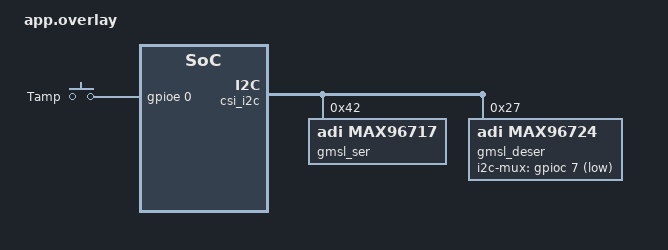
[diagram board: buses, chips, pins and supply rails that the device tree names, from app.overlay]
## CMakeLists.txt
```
# SPDX-License-Identifier: Apache-2.0

cmake_minimum_required(VERSION 3.20.0)

find_package(Zephyr REQUIRED HINTS $ENV{ZEPHYR_BASE})
project(videocapture_gmsl)

FILE(GLOB app_sources src/*.c)
target_sources(app PRIVATE ${app_sources})
target_include_directories(app PRIVATE include)
```

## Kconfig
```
# VIDEO resolution settings

# Copyright (c) 2024 Charles Dias <charlesdias.cd@outlook.com>
# SPDX-License-Identifier: Apache-2.0

mainmenu "Video capture to LVGL sample application"

menu "Video capture configuration"

config VIDEO_SOURCE_CROP_LEFT
	int "Crop area left value"
	default 0
	help
	   Left value of the crop area within the video source.

config VIDEO_SOURCE_CROP_TOP
	int "Crop area top value"
	default 0
	help
	   Top value of the crop area within the video source.

config VIDEO_SOURCE_CROP_WIDTH
	int "Crop area width value"
	default 0
	help
	   Width value of the crop area within the video source.
	   If set to 0, the crop is not applied.

config VIDEO_SOURCE_CROP_HEIGHT
	int "Crop area height value"
	default 0
	help
	   Height value of the crop area within the video source.
	   If set to 0, the crop is not applied.

config VIDEO_WIDTH
	int "Define the width of the video"
	default 320

config VIDEO_HEIGHT
	int "Define the height of the video"
	default 240

config VIDEO_HFLIP
	bool "Horizontal flip"
	default n

config VIDEO_VFLIP
	bool "Vertical flip"
	default n

config ISP_AWB
	bool "Auto White Balance"
	default y

config ISP_AWB_INTERVAL
	int "Auto white balance update interval (frames)"
	default 4

config GMSL_DESER_DUPLICATE
	bool "Duplicate the camera output on both GMSL deserializer CSI ports"
	default y

endmenu

source "Kconfig.zephyr"
```

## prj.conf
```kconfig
CONFIG_VIDEO=y

CONFIG_PRINTK=y
CONFIG_LOG=y

CONFIG_MAIN_STACK_SIZE=4096

CONFIG_DISPLAY=y
CONFIG_DISPLAY_LOG_LEVEL_ERR=y

CONFIG_LVGL=y
CONFIG_LV_CONF_MINIMAL=y
CONFIG_LV_USE_IMAGE=y
CONFIG_LV_Z_MEM_POOL_SIZE=16384
CONFIG_LV_USE_PERF_MONITOR=y
CONFIG_LV_USE_DROPDOWN=y
CONFIG_LV_USE_SYSMON=y

CONFIG_SHELL=y
CONFIG_VIDEO_SHELL=y

CONFIG_INPUT=y
```

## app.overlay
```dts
/*
 * Copyright (c) 2026 Analog Devices, Inc
 *
 * SPDX-License-Identifier: Apache-2.0
 */

/ {
    chosen {
        camera_sensor = &imx335;
    };
};


&imx335 {
    /* The camera initialization needs to happen after GMSL is running due to
       I2C tunnelling */
    zephyr,deferred-init;
};

&csi_interface {
    /* The CSI interface initialization needs to happen after the camera is
       initialized (now manually in code) as the driver verifies the camera is
       ready as part of its bringup */
    zephyr,deferred-init;
};

&gpioc {
    status = "okay";
};

&csi_i2c {
    gmsl_ser: max96717@42 {
        compatible = "adi,max96717";
        reg = <0x42>;
    };

    gmsl_deser: max96724@27 {
        compatible = "adi,max96724";
        reg = <0x27>;
        i2c-mux-gpios = <&gpioc 7 (GPIO_ACTIVE_LOW | GPIO_OPEN_DRAIN)>;
    };
};

/* Reassign User Button to 'E' for exposure */
&user_button {
    zephyr,code = <INPUT_KEY_E>;
};

/ {
    extra_keys {
        compatible = "gpio-keys";
        /* Add the tamper button and use it for gain */
        tamp_button: tamper_button {
            label = "Tamp";
            gpios = <&gpioe 0 (GPIO_ACTIVE_HIGH | GPIO_PULL_DOWN)>;
            zephyr,code = <INPUT_KEY_G>;
        };
    };
};
```

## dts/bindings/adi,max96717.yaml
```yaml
# Copyright (c) 2026 Analog Devices, Inc
# SPDX-License-Identifier: Apache-2.0

description: Mock device tree node to capture MAX96717 I2C configuration

compatible: "adi,max96717"

include: [i2c-device.yaml]
```

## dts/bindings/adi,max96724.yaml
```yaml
# Copyright (c) 2026 Analog Devices, Inc
# SPDX-License-Identifier: Apache-2.0

description: Mock device tree node to capture MAX96724 I2C configuration

compatible: "adi,max96724"

include: [i2c-device.yaml]

properties:
  i2c-mux-gpios:
    type: phandle-array
    required: false
    description: |
      The GPIO connected to the I2C mux controller on the MAX96724 EvKit (TP2)
      for controlling the on-board I2C from software versus S1.
```

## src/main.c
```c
/*
 * Copyright (c) 2024 Charles Dias <charlesdias.cd@outlook.com>
 * Portions Copyright (c) 2026 Analog Devices, Inc
 *
 * SPDX-License-Identifier: Apache-2.0
 */

#include <zephyr/kernel.h>
#include <zephyr/device.h>
#include <zephyr/drivers/display.h>
#include <zephyr/drivers/video.h>
#include <zephyr/video/controls.h>
#include <zephyr/logging/log.h>
#include <lvgl.h>

#include "gmsl.h"

LOG_MODULE_REGISTER(main, CONFIG_LOG_DEFAULT_LEVEL);

#if !DT_HAS_CHOSEN(zephyr_camera)
#error No camera chosen in devicetree. Missing "--shield" or "--snippet video-sw-generator" flag?
#endif

#if !DT_PROP(DT_CHOSEN(camera_sensor), zephyr_deferred_init)
#error The chosen camera_sensor must have zephyr,deferred-init enabled.
#endif

#if !DT_HAS_CHOSEN(zephyr_display)
#error No display chosen in devicetree. Missing "--shield" flag?
#endif

int main(void)
{
	struct video_buffer *buffers[2];
	struct video_buffer *vbuf = &(struct video_buffer){};
	const struct device *display_dev;
	const struct device *video_dev;
	const struct device *camera_dev;
	const struct device *csi_dev;
	struct video_format fmt;
	struct video_caps caps;
	enum video_buf_type type = VIDEO_BUF_TYPE_OUTPUT;
	struct video_selection sel = {
		.type = VIDEO_BUF_TYPE_OUTPUT,
	};
	int i = 0;
	int err;

	/* Initialize GMSL before anything else */
	err = gmsl_init();
	if (err) {
		LOG_ERR("Failed to initialize GMSL");
		return 0;
	}

	/* Take I2C ownership until init is complete */
	gmsl_set_i2c_ctrl(true);

	/* Camera initialization deferred until GMSL is running */
	camera_dev = DEVICE_DT_GET(DT_CHOSEN(camera_sensor));
	device_init(camera_dev);
	if (!device_is_ready(camera_dev)) {
		LOG_ERR("%s device is not ready", camera_dev->name);
		return 0;
	}

	/* CSI Interface deferred until Camera is running */
	csi_dev = DEVICE_DT_GET(DT_NODELABEL(csi_interface));
	device_init(csi_dev);
	if (!device_is_ready(csi_dev)) {
		LOG_ERR("%s device is not ready", csi_dev->name);
		return 0;
	}

	display_dev = DEVICE_DT_GET(DT_CHOSEN(zephyr_display));
	if (!device_is_ready(display_dev)) {
		LOG_ERR("Device not ready, aborting test");
		return 0;
	}

	video_dev = DEVICE_DT_GET(DT_CHOSEN(zephyr_camera));
	if (!device_is_ready(video_dev)) {
		LOG_ERR("%s device is not ready", video_dev->name);
		return 0;
	}

	LOG_INF("- Device name: %s", video_dev->name);

	/* Get capabilities */
	caps.type = type;
	if (video_get_caps(video_dev, &caps)) {
		LOG_ERR("Unable to retrieve video capabilities");
		return 0;
	}

	LOG_INF("- Capabilities:");
	while (caps.format_caps[i].pixelformat) {
		const struct video_format_cap *fcap = &caps.format_caps[i];
		/* four %c to string */
		LOG_INF("  %c%c%c%c width [%u; %u; %u] height [%u; %u; %u]",
			(char)fcap->pixelformat, (char)(fcap->pixelformat >> 8),
			(char)(fcap->pixelformat >> 16), (char)(fcap->pixelformat >> 24),
			fcap->width_min, fcap->width_max, fcap->width_step, fcap->height_min,
			fcap->height_max, fcap->height_step);
		i++;
	}

	/* Get default/native format */
	fmt.type = type;
	if (video_get_format(video_dev, &fmt)) {
		LOG_ERR("Unable to retrieve video format");
		return 0;
	}

	/* Set the crop setting if necessary */
#if CONFIG_VIDEO_SOURCE_CROP_WIDTH && CONFIG_VIDEO_SOURCE_CROP_HEIGHT
	sel.target = VIDEO_SEL_TGT_CROP;
	sel.rect.left = CONFIG_VIDEO_SOURCE_CROP_LEFT;
	sel.rect.top = CONFIG_VIDEO_SOURCE_CROP_TOP;
	sel.rect.width = CONFIG_VIDEO_SOURCE_CROP_WIDTH;
	sel.rect.height = CONFIG_VIDEO_SOURCE_CROP_HEIGHT;
	if (video_set_selection(video_dev, &sel)) {
		LOG_ERR("Unable to set selection crop");
		return 0;
	}
	LOG_INF("Selection crop set to (%u,%u)/%ux%u",
		sel.rect.left, sel.rect.top, sel.rect.width, sel.rect.height);
#endif

	/* Set format */
	fmt.width = CONFIG_VIDEO_WIDTH;
	fmt.height = CONFIG_VIDEO_HEIGHT;
	fmt.pixelformat = VIDEO_PIX_FMT_RGB565;

	/*
	 * Check (if possible) if targeted size is same as crop
	 * and if compose is necessary
	 */
	sel.target = VIDEO_SEL_TGT_CROP;
	err = video_get_selection(video_dev, &sel);
	if (err < 0 && err != -ENOSYS) {
		LOG_ERR("Unable to get selection crop");
		return 0;
	}

	if (err == 0 && (sel.rect.width != fmt.width || sel.rect.height != fmt.height)) {
		sel.target = VIDEO_SEL_TGT_COMPOSE;
		sel.rect.left = 0;
		sel.rect.top = 0;
		sel.rect.width = fmt.width;
		sel.rect.height = fmt.height;
		err = video_set_selection(video_dev, &sel);
		if (err < 0 && err != -ENOSYS) {
			LOG_ERR("Unable to set selection compose");
			return 0;
		}
	}

	if (video_set_format(video_dev, &fmt)) {
		LOG_ERR("Unable to set up video format");
		return 0;
	}

	LOG_INF("- Format: %c%c%c%c %ux%u %u", (char)fmt.pixelformat, (char)(fmt.pixelformat >> 8),
		(char)(fmt.pixelformat >> 16), (char)(fmt.pixelformat >> 24), fmt.width, fmt.height,
		fmt.pitch);

	/* Alloc video buffers and enqueue for capture */
	for (i = 0; i < ARRAY_SIZE(buffers); i++) {
		buffers[i] = video_buffer_aligned_alloc(fmt.size, CONFIG_VIDEO_BUFFER_POOL_ALIGN,
							K_NO_WAIT);
		if (buffers[i] == NULL) {
			LOG_ERR("Unable to alloc video buffer");
			return 0;
		}
		buffers[i]->type = type;
		video_enqueue(video_dev, buffers[i]);
	}

	/* Set controls */
	struct video_control ctrl = {.id = VIDEO_CID_HFLIP, .val = 1};

	if (IS_ENABLED(CONFIG_VIDEO_HFLIP)) {
		video_set_ctrl(video_dev, &ctrl);
	}

	if (IS_ENABLED(CONFIG_VIDEO_VFLIP)) {
		ctrl.id = VIDEO_CID_VFLIP;
		video_set_ctrl(video_dev, &ctrl);
	}

	/* Start video capture */
	if (video_stream_start(video_dev, type)) {
		LOG_ERR("Unable to start capture (interface)");
		return 0;
	}

	err = display_blanking_off(display_dev);
	if (err < 0 && err != -ENOSYS) {
		LOG_ERR("Failed to turn blanking off (error %d)", err);
		return 0;
	}

	/* Return I2C ownership */
	gmsl_set_i2c_ctrl(false);

	const lv_img_dsc_t video_img = {
		.header.w = CONFIG_VIDEO_WIDTH,
		.header.h = CONFIG_VIDEO_HEIGHT,
		.data_size = CONFIG_VIDEO_WIDTH * CONFIG_VIDEO_HEIGHT * sizeof(lv_color_t),
		.header.cf = LV_COLOR_FORMAT_NATIVE,
		.data = (const uint8_t *)buffers[0]->buffer,
	};

	lv_obj_t *screen = lv_img_create(lv_scr_act());

	LOG_INF("- Capture started");

	/* Grab video frames */
	vbuf->type = type;
	while (1) {
		err = video_dequeue(video_dev, &vbuf, K_FOREVER);
		if (err) {
			LOG_ERR("Unable to dequeue video buf");
			return 0;
		}

		lv_img_set_src(screen, &video_img);
		lv_obj_align(screen, LV_ALIGN_BOTTOM_LEFT, 0, 0);

		lv_task_handler();

		err = video_enqueue(video_dev, vbuf);
		if (err) {
			LOG_ERR("Unable to requeue video buf");
			return 0;
		}
	}
}
```

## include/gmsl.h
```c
/*
 * Copyright (c) 2026 Analog Devices, Inc
 *
 * SPDX-License-Identifier: Apache-2.0
 */

#ifndef GMSL_H_
#define GMSL_H_

#include <stdbool.h>

#ifdef __cplusplus
extern "C" {
#endif

/**
 * @brief Initializes the GMSL Devices
 *
 * Initializes the GMSL interface. This uses the configuration parameters found
 * in gmsl_config.h and the device tree nodes to setup the devices
 *
 * @retval 0 on success. Error code otherwise.
 */
int gmsl_init(void);

/**
 * @brief Sets the i2c mux control
 *
 * The GMSL hardware platforms feature on-board I2C muxes controlled by physical
 * switches or test point signals. If declared in the device tree, this will
 * set the state of the associated GPIO.
 *
 * @param state - State to set the GPIO for i2c control ownership of this
 *  application
 *
 * @retval 0 on success. Error code otherwise.
 */
int gmsl_set_i2c_ctrl(bool state);

#ifdef __cplusplus
}
#endif

#endif /* GMSL_H_ */
```

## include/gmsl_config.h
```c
/*
 * Copyright (c) 2026 Analog Devices, Inc
 *
 * SPDX-License-Identifier: Apache-2.0
 */

#ifndef GMSL_CONFIG_H_
#define GMSL_CONFIG_H_

#include <stdint.h>

#ifdef __cplusplus
extern "C" {
#endif

/**
 * @brief Struct for building the initialization tables for GMSL
 */
struct gmsl_reg {
    /* Register Address */
    uint16_t reg_addr;

    /* Initialization Value */
    uint8_t data;
};

/*
 * The GMSL link bringup is done in the following order
 *  - deser_link_init
 *  - Delay: GMSL_LINK_INIT_DELAY_US
 *  - ser_xmit_init
 *  - ser_init
 *  - deser_init
 *  - deser_link_enable
 *  - ser_xmit_enable
 */

/** Delay time after running the deserialized link initialization */
#define GMSL_LINK_INIT_DLEAY_US 5

/** Register table for serializer transmit init phase */
static const struct gmsl_reg ser_max96717_xmit_init[] = {
    {0x0002, 0x03}, // DEV REG2: Disable Pipe Z
};

/** Register table for serializer device init phase */
static const struct gmsl_reg ser_max96717_init[] = {
    /* GPIO Configuration */
    {0x02C4, 0x90}, // MFP2: Always high (IMX_Module nReset)
    {0x02CD, 0x90}, // MFP5: Always high (IMX Module Enable)
    /* MIPI D-PHY Configuration */
    {0x0330, 0x00}, // MIPI_RX0: Port Configuration 1x4
    {0x0383, 0x80}, // MIPI_RX_EXT: Tunnel Mode Enabled
    {0x0331, 0x10}, // MIPI_RX1: Port B Lane Count: 2
    {0x0332, 0xE0}, // MIPI_RX2: PHY1 Lane Map D0=Lane2, D1=Lane3
    {0x0333, 0x04}, // MIPI_RX3: PHY2 Lane Map D0=Lane0, D1=Lane1
    {0x0334, 0x00}, // MIPI_RX4: PHY1 Polarity Normal
    {0x0335, 0x00}, // MIPI_RX5: PHY2 Polarity Normal
    /* Controller to Pipe Mapping */
    {0x0308, 0x64}, // FRONTTOP0: CLK_SELZ Port B, START_PORTB Enabled
    {0x0311, 0x30}, // FRONTTOP9: START_PORTBZ Start Video
    /* Pipe Configuration */
    {0x005B, 0x00}, // VIDEO_Z TX3: TX_STR_SEL Pipe Z = 0x0
};

/** Register table for serializer transmit enable phase */
static const struct gmsl_reg ser_max96717_xmit_enable[] = {
    {0x0002, 0x43}, // DEV REG2: Enable Pipe Z
};

/** Register table for deserializer link init phase */
static const struct gmsl_reg deser_max96724_link_init[] = {
    {0x040B, 0x00}, // BACKTOP12: CSI output disabled
    {0x0006, 0xF1}, // REG6: LINK_EN_A Enabled, B/C/D Disabled
    {0x0003, 0xFE}, // REG3: Remote CC Link A I2C Enabled, B/C/D Disabled
};

/** Register table for deserializer device init phase */
static const struct gmsl_reg deser_max96724_init[] = {
    /* GPIO Configuration */
    {0x0300, 0x83}, // GPIO0: Enable TX over GMSL
    {0x0310, 0x83}, // GPIO5: Enable TX over GMSL
    /* Video Pipe Routing */
    {0x00F0, 0x60}, // VIDEO_PIPE_SEL0: Pipe 0 PHY A, Input Pipe X
    {0x00F4, 0x01}, // VIDEO_PIPE_EN: Pipe 0 Enabled, Pipes 1-3 Disabled
    /* MIPI D-PHY Configuration */
    {0x08A0, 0x04}, // MIPI_PHY0: Port Configuration 2 (1x4)
    {0x098A, 0x50}, // MIPI_TX10: Port B Lane Count: 2
    {0x08A4, 0xE4}, // MIPI_PHY4: PHY2 D0=Lane0, D1=Lane1, PHY3 D0=Lane2, D1=Lane3
    {0x08A6, 0x00}, // MIPI_PHY6: PHY2/PHY3 Polarity Normal
    {0x0983, 0x07}, // MIPI_TX3: Controller 2 Auto Initial Deskew Disabled
    {0x0984, 0x01}, // MIPI_TX4: Controller 2 Periodic Deskew Disabled

#if CONFIG_GMSL_DESER_DUPLICATE
    /* MIPI D-PHY Configuration */
    {0x094A, 0x50}, // MIPI_TX10: Port A Lane Count: 2
    {0x08A3, 0xE4}, // MIPI_PHY3: PHY1 D0=Lane0, D1=Lane1, PHY3 D0=Lane2, D1=Lane3
    {0x08A5, 0x00}, // MIPI_PHY5: PHY0/PHY1 Polarity Normal
    {0x0943, 0x07}, // MIPI_TX3: Controller 1 Auto Initial Deskew Disabled
    {0x0944, 0x01}, // MIPI_TX4: Controller 1 Periodic Deskew Disabled
#endif

    /* CSI Clock Configuration (~1000MHz per lane) */
    {0x041B, 0x2A}, // BACKTOP: CSI clock ~1000MHz per lane
#if CONFIG_GMSL_DESER_DUPLICATE
    /* CSI Clock Configuration (~1000MHz per lane) */
    {0x0418, 0x2A}, // BACKTOP: CSI clock ~1000MHz per lane
    {0x08A2, 0xF4}, // MIPI_PHY2: All PHYs enabled
#else
    {0x08A2, 0xC4}, // MIPI_PHY2: PHY0 and PHY1 in standby
#endif

    /* Tunnel Mode Configuration */
    {0x08CA, 0xE6}, // MIPI_CTRL_SEL: Pipe 0 Controller = 0x2, Pipe 1 Controller = 1
    {0x0939, 0x20}, // MIPI_TX57: Tunnel Destination Pipe 0 = 0x2
    {0x0936, 0x09}, // MIPI_TX54: Pipe 0 Tunnel Mode Enabled
    {0x0939, 0x60}, // MIPI_TX57: Pipe 0 Disable Auto Tunnel Detection
};

/** Register table for deserializer link enable phase */
static const struct gmsl_reg deser_max96724_link_enable[] = {
#if CONFIG_GMSL_DESER_DUPLICATE
    {0x040B, 0x03}, // BACKTOP12: CSI output Port A and B enabled
    {0x08A9, 0xB0}, // PHYCOPY 2 to 1
#else
    {0x040B, 0x02}, // BACKTOP12: CSI output Port B enabled
#endif
};

#ifdef __cplusplus
}
#endif

#endif /* GMSL_CONFIG_H_ */
```

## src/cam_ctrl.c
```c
/*
 * Copyright (c) 2026 Analog Devices, Inc
 *
 * SPDX-License-Identifier: Apache-2.0
 */
#include "gmsl.h"

#include <zephyr/kernel.h>
#include <zephyr/device.h>
#include <zephyr/input/input.h>
#include <zephyr/drivers/video.h>
#include <zephyr/video/controls.h>
#include <zephyr/logging/log.h>

LOG_MODULE_REGISTER(cam_ctrl, CONFIG_LOG_DEFAULT_LEVEL);

#define CAM_ADJ_NUM_STEPS	5

struct camera_adj_event {
	struct k_work work;
	uint32_t ctrl_id;
};

static void camera_adj_handler(struct k_work *work);
static void button_input_cb(struct input_event *evt, void *user_data);

INPUT_CALLBACK_DEFINE(NULL, button_input_cb, NULL);
static struct camera_adj_event cam_adj_evt = { .work = Z_WORK_INITIALIZER(camera_adj_handler) };
static const struct device* camera_dev = DEVICE_DT_GET(DT_CHOSEN(camera_sensor));

static void camera_adj_handler(struct k_work *work)
{
	struct camera_adj_event* cam_evt = CONTAINER_OF(work, struct camera_adj_event, work);
	struct video_ctrl_query query;
	struct video_control ctrl;
	int32_t span, step;

	/* Take control of the I2C for camera adjustments */
	gmsl_set_i2c_ctrl(true);

	query.dev = camera_dev;
	query.id = cam_evt->ctrl_id;
	if (video_query_ctrl(&query)) {
		LOG_ERR("Failed to query control");
		goto release_control;
	}

	span = query.range.max - query.range.min;
	step = MAX(1, span / CAM_ADJ_NUM_STEPS);

	ctrl.id = cam_evt->ctrl_id;
	if (video_get_ctrl(camera_dev, &ctrl)) {
		LOG_ERR("Failed to get control");
		goto release_control;
	}

	ctrl.val = ctrl.val + step;
	if (ctrl.val > query.range.max) {
		ctrl.val = query.range.min + (ctrl.val - query.range.max);
	}
	ctrl.val = ROUND_UP(ctrl.val, query.range.step);

	if (video_set_ctrl(camera_dev, &ctrl)) {
		LOG_ERR("Failed to set control");
		goto release_control;
	}

	release_control:
		gmsl_set_i2c_ctrl(false);
}

static void button_input_cb(struct input_event *evt, void *user_data)
{
	if (evt->sync == 0) {
		return;
	}

	if (evt->value) {
		switch (evt->code) {
			case INPUT_KEY_G:
				cam_adj_evt.ctrl_id = VIDEO_CID_ANALOGUE_GAIN;
				k_work_submit(&cam_adj_evt.work);
				break;
			case INPUT_KEY_E:
				cam_adj_evt.ctrl_id = VIDEO_CID_EXPOSURE;
				k_work_submit(&cam_adj_evt.work);
				break;
		}
	}
}
```

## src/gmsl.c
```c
/*
 * Copyright (c) 2026 Analog Devices, Inc
 *
 * SPDX-License-Identifier: Apache-2.0
 */

#include <zephyr/kernel.h>
#include <zephyr/device.h>
#include <zephyr/drivers/gpio.h>
#include <zephyr/drivers/i2c.h>
#include <zephyr/logging/log.h>

#include "gmsl.h"
#include "gmsl_config.h"

LOG_MODULE_REGISTER(gmsl, CONFIG_LOG_DEFAULT_LEVEL);

/* Verify the device tree nodes are as expected for this setup */
BUILD_ASSERT(DT_NODE_EXISTS(DT_NODELABEL(gmsl_ser)),
	     "GMSL Serializer not configured correctly in devicetree");

BUILD_ASSERT(DT_NODE_HAS_COMPAT(DT_NODELABEL(gmsl_ser), adi_max96717),
	     "gmsl_ser must be compatible with adi,max96717");

BUILD_ASSERT(DT_NODE_EXISTS(DT_NODELABEL(gmsl_deser)),
	     "GMSL Deserializer not configured correctly in devicetree");

BUILD_ASSERT(DT_NODE_HAS_COMPAT(DT_NODELABEL(gmsl_deser), adi_max96724),
	     "gmsl_deser must be compatible with adi,max96724");

/* I2C Bus assignments for GMSL pulled from the device tree */
static const struct i2c_dt_spec ser_i2c = I2C_DT_SPEC_GET(DT_NODELABEL(gmsl_ser));
static const struct i2c_dt_spec deser_i2c = I2C_DT_SPEC_GET(DT_NODELABEL(gmsl_deser));
static const struct gpio_dt_spec i2c_ctrl_gpio =
	GPIO_DT_SPEC_GET_OR(DT_NODELABEL(gmsl_deser), i2c_mux_gpios, {0});

/**
 * @brief Helper for reading a GMSL register value
 *
 * Performs a register read on specific I2C spec of the given register address.
 *
 * @param spec - I2C spec to read from
 * @param reg - 16-bit Register read
 * @param val - Storage location for received data
 *
 * @retval 0 on success, error code otherwise
 */
static int gmsl_reg_read(const struct i2c_dt_spec *spec, uint16_t reg, uint8_t *val)
{
	uint8_t addr_buf[2] = { reg >> 8, reg & 0xFF };

	return i2c_write_read_dt(spec, addr_buf, sizeof(addr_buf), val, 1);
}

/**
 * @brief Helper for writing a GMSL register value
 *
 * Performs a register write on specific I2C spec of the given register address.
 *
 * @param spec - I2C spec to write to
 * @param reg - 16-bit Register to write
 * @param val - Value to write
 *
 * @retval 0 on success, error code otherwise
 */
static int gmsl_reg_write(const struct i2c_dt_spec *spec, uint16_t reg, uint8_t val)
{
	uint8_t buf[3] = { reg >> 8, reg & 0xFF, val };

	return i2c_write_dt(spec, buf, sizeof(buf));
}

/**
 * @brief Helper for writing a block of initialization registers
 *
 * Performs register writes of the initialization registers provided by the
 * given table.
 *
 * @param spec - I2C spec to read from
 * @param reg_tabl - Table for register/data pairs to write
 * @param reg_count - Size of the register table
 *
 * @retval 0 on success, error code otherwise
 */
static int gmsl_load_reg_table(const struct i2c_dt_spec *spec,
							   const struct gmsl_reg* reg_table,
							   size_t reg_count)
{
	int i;
	int ret;
	for (i = 0; i < reg_count; i++) {
		ret = gmsl_reg_write(spec, reg_table[i].reg_addr, reg_table[i].data);
		if (ret) {
			return ret;
		}
	}

	return 0;
}

int gmsl_init(void)
{
	int ret;

	if (!i2c_is_ready_dt(&ser_i2c)) {
		LOG_ERR("Serializer I2C bus not ready");
		return -ENODEV;
	}

	if (!i2c_is_ready_dt(&deser_i2c)) {
		LOG_ERR("Deserializer I2C bus not ready");
		return -ENODEV;
	}

	if (!gpio_is_ready_dt(&i2c_ctrl_gpio)) {
		LOG_INF("I2C control mux GPIO not provided or ready\n");
	} else {
		/* Take ownership at startup */
		gpio_pin_configure_dt(&i2c_ctrl_gpio, GPIO_OUTPUT_ACTIVE);
	}


	ret = gmsl_load_reg_table(&deser_i2c, deser_max96724_link_init, ARRAY_SIZE(deser_max96724_link_init));
	if (ret) {
		return ret;
	}
	LOG_INF("Deserializer Link Init Complete");

	/* Link init delay */
	k_usleep(GMSL_LINK_INIT_DLEAY_US);

	ret = gmsl_load_reg_table(&ser_i2c, ser_max96717_xmit_init, ARRAY_SIZE(ser_max96717_xmit_init));
	if (ret) {
		return ret;
	}
	LOG_INF("Serializer Transmit Init Complete");

	ret = gmsl_load_reg_table(&ser_i2c, ser_max96717_init, ARRAY_SIZE(ser_max96717_init));
	if (ret) {
		return ret;
	}
	LOG_INF("Serializer Init Complete");

	ret = gmsl_load_reg_table(&deser_i2c, deser_max96724_init, ARRAY_SIZE(deser_max96724_init));
	if (ret) {
		return ret;
	}
	LOG_INF("Deserializer Init Complete");

	ret = gmsl_load_reg_table(&deser_i2c, deser_max96724_link_enable, ARRAY_SIZE(deser_max96724_link_enable));
	if (ret) {
		return ret;
	}
	LOG_INF("Deserializer Link Enable Complete");

	ret = gmsl_load_reg_table(&ser_i2c, ser_max96717_xmit_enable, ARRAY_SIZE(ser_max96717_xmit_enable));
	if (ret) {
		return ret;
	}
	LOG_INF("Serializer Transmit Enable Complete");

	gmsl_set_i2c_ctrl(false);
	LOG_INF("GMSL init complete");
	return 0;
}

int gmsl_set_i2c_ctrl(bool state)
{
	if (gpio_is_ready_dt(&i2c_ctrl_gpio)) {
		return gpio_pin_set_dt(&i2c_ctrl_gpio, state ? 1 : 0);
	}

	return 0;
}
```

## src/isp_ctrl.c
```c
/*
 * Copyright (c) 2026 Analog Devices, Inc
 *
 * SPDX-License-Identifier: Apache-2.0
 */
#include <math.h>
#include <soc.h>
#include <zephyr/kernel.h>
#include <zephyr/device.h>
#include <zephyr/drivers/video.h>
#include <zephyr/drivers/video/stm32_dcmipp.h>
#include <zephyr/logging/log.h>

LOG_MODULE_REGISTER(isp_ctrl, CONFIG_LOG_DEFAULT_LEVEL);

/* Only enable via KConfig */
#if CONFIG_ISP_AWB

/* Get the Pipe from the device tree */
#define AWB_PIPE            DT_REG_ADDR(DT_NODELABEL(pipe_main))

static DCMIPP_HandleTypeDef *isp_hdcmipp;

/* Frame counter to support intervals for updating the AWB */
static uint32_t frame_count;


/**
 * Applies the given gains to the ISP's Exposure block, which happens prior to
 * demosaicing.
 *
 * @param r_gain - Red scale factor (1.0 = Unity)
 * @param g_gain - Green scale factor (1.0 = Unity)
 * @param b_gain - Blue scale factor (1.0 = Unity)
 */
static void isp_awb_apply_gains(float r_gain, float g_gain, float b_gain)
{
	DCMIPP_ExposureConfTypeDef exp_cfg;

	/* The Exposure control is really a digital gain prior to running the demosaicing.
	 * It consists of a shift factor and multiplier.  To support a variety of input
	 * images, dynamically calculate the shift factor to get the most accurate
	 * representation of the gain.
	 * Per the API/Documentation:
	 * 	Shift Range = 0 - 7
	 *  Multiplier = 0 - 127
	 *
	 * Gain = Multiplier * 2**Shift / 128
	 * */
	exp_cfg.ShiftRed = CLAMP((uint8_t)(ceilf(log2f((r_gain * 128.0f)/127.0f))), 0, 7);
	exp_cfg.MultiplierRed = (uint8_t)(roundf((r_gain * 128.0f) / (float)(1 << exp_cfg.ShiftRed)));
	exp_cfg.ShiftGreen = CLAMP((uint8_t)(ceilf(log2f((g_gain * 128.0f)/127.0f))), 0, 7);
	exp_cfg.MultiplierGreen = (uint8_t)(roundf((g_gain * 128.0f) / (float)(1 << exp_cfg.ShiftGreen)));
	exp_cfg.ShiftBlue = CLAMP((uint8_t)(ceilf(log2f((b_gain * 128.0f)/127.0f))), 0, 7);
	exp_cfg.MultiplierBlue = (uint8_t)(roundf((b_gain * 128.0f) / (float)(1 << exp_cfg.ShiftBlue)));
	HAL_DCMIPP_PIPE_SetISPExposureConfig(isp_hdcmipp, AWB_PIPE, &exp_cfg);

	LOG_DBG("Exp: R=%u/%u G=%u/%u B=%u/%u",
		exp_cfg.ShiftRed, exp_cfg.MultiplierRed, exp_cfg.ShiftGreen, exp_cfg.MultiplierGreen,
		exp_cfg.ShiftBlue, exp_cfg.MultiplierBlue );
}

static void isp_awb_update(void)
{
	uint32_t acc_r, acc_g, acc_b;
	float gain_r, gain_b;

	/* Read accumulated statistics for each channel.
	 * We configured 3 stat extraction modules: 1=R, 2=G, 3=B
	 */
	if (HAL_DCMIPP_PIPE_GetISPAccumulatedStatisticsCounter( isp_hdcmipp, AWB_PIPE,
			DCMIPP_STATEXT_MODULE1, &acc_r) != HAL_OK) {
		return;
	}

	if (HAL_DCMIPP_PIPE_GetISPAccumulatedStatisticsCounter( isp_hdcmipp, AWB_PIPE,
			DCMIPP_STATEXT_MODULE2, &acc_g) != HAL_OK) {
		return;
	}

	if (HAL_DCMIPP_PIPE_GetISPAccumulatedStatisticsCounter( isp_hdcmipp, AWB_PIPE,
			DCMIPP_STATEXT_MODULE3, &acc_b) != HAL_OK) {
		return;
	}

	/* Can't do math if any values are 0 */
	if (acc_r == 0 || acc_g == 0 || acc_b == 0) {
		return;
	}

	/*
	 * Gray-world algorithm: adjust R and B gains so that their averages
	 * match the green channel average. Green channel gain stays at unity.
	 *
	 * Green is divided by 2 since Pre-Bayer there are 2x Green pixels than R and
	 * G.
	 */
	gain_r = (float)(acc_g >> 1) / (float)acc_r;
	gain_b = (float)(acc_g >> 1)/ (float)acc_b;

	isp_awb_apply_gains(gain_r, 1.0f, gain_b);

	LOG_DBG("AWB: R=%u G=%u B=%u -> mult_r=%u mult_b=%u",
		acc_r, acc_g, acc_b, (unsigned int)(gain_r * 100), (unsigned int)(gain_b * 100));
}

/* Weak function provided by the dcmipp driver */
int stm32_dcmipp_isp_init(DCMIPP_HandleTypeDef *hdcmipp, const struct device *source)
{
	DCMIPP_StatisticExtractionConfTypeDef stat_cfg;
	HAL_StatusTypeDef status;

	isp_hdcmipp = hdcmipp;
	frame_count = 0;

	/* Configure statistics extraction: Module 1 = Red average */
	stat_cfg.Mode = DCMIPP_STAT_EXT_MODE_AVERAGE;
	stat_cfg.Source = DCMIPP_STAT_EXT_SOURCE_PRE_BLKLVL_R;
	stat_cfg.Bins = DCMIPP_STAT_EXT_AVER_MODE_ALL_PIXELS;

	status = HAL_DCMIPP_PIPE_SetISPStatisticExtractionConfig(
				hdcmipp, AWB_PIPE, DCMIPP_STATEXT_MODULE1, &stat_cfg);
	if (status != HAL_OK) {
		LOG_ERR("Failed to configure stat extraction module 1 (Red)");
		return -EIO;
	}

	/* Module 2 = Green average */
	stat_cfg.Source = DCMIPP_STAT_EXT_SOURCE_PRE_BLKLVL_G;

	status = HAL_DCMIPP_PIPE_SetISPStatisticExtractionConfig(
				hdcmipp, AWB_PIPE, DCMIPP_STATEXT_MODULE2, &stat_cfg);
	if (status != HAL_OK) {
		LOG_ERR("Failed to configure stat extraction module 2 (Green)");
		return -EIO;
	}

	/* Module 3 = Blue average */
	stat_cfg.Source = DCMIPP_STAT_EXT_SOURCE_PRE_BLKLVL_B;

	status = HAL_DCMIPP_PIPE_SetISPStatisticExtractionConfig(
				hdcmipp, AWB_PIPE, DCMIPP_STATEXT_MODULE3, &stat_cfg);
	if (status != HAL_OK) {
		LOG_ERR("Failed to configure stat extraction module 3 (Blue)");
		return -EIO;
	}

	/* Enable all three stat extraction modules */
	HAL_DCMIPP_PIPE_EnableISPStatisticExtraction(hdcmipp, AWB_PIPE, DCMIPP_STATEXT_MODULE1);
	HAL_DCMIPP_PIPE_EnableISPStatisticExtraction(hdcmipp, AWB_PIPE, DCMIPP_STATEXT_MODULE2);
	HAL_DCMIPP_PIPE_EnableISPStatisticExtraction(hdcmipp, AWB_PIPE, DCMIPP_STATEXT_MODULE3);

	/* Enable the ISP exposure block with unity gains */
	isp_awb_apply_gains(1.0f, 1.0f, 1.0f);
	status = HAL_DCMIPP_PIPE_EnableISPExposure(hdcmipp, AWB_PIPE);
	if (status != HAL_OK) {
		LOG_ERR("Failed to enable ISP exposure");
		return -EIO;
	}

	LOG_INF("ISP AWB initialized");
	return 0;
}

/* Weak function provided by the dcmipp driver */
void stm32_dcmipp_isp_vsync_update(DCMIPP_HandleTypeDef *hdcmipp, uint32_t Pipe)
{
	if (Pipe != AWB_PIPE) {
		return;
	}

	frame_count++;
	if (frame_count >= CONFIG_ISP_AWB_INTERVAL) {
		frame_count = 0;
		isp_awb_update();
	}
}

int stm32_dcmipp_isp_start(void)
{
	frame_count = 0;
	return 0;
}
#endif
```
